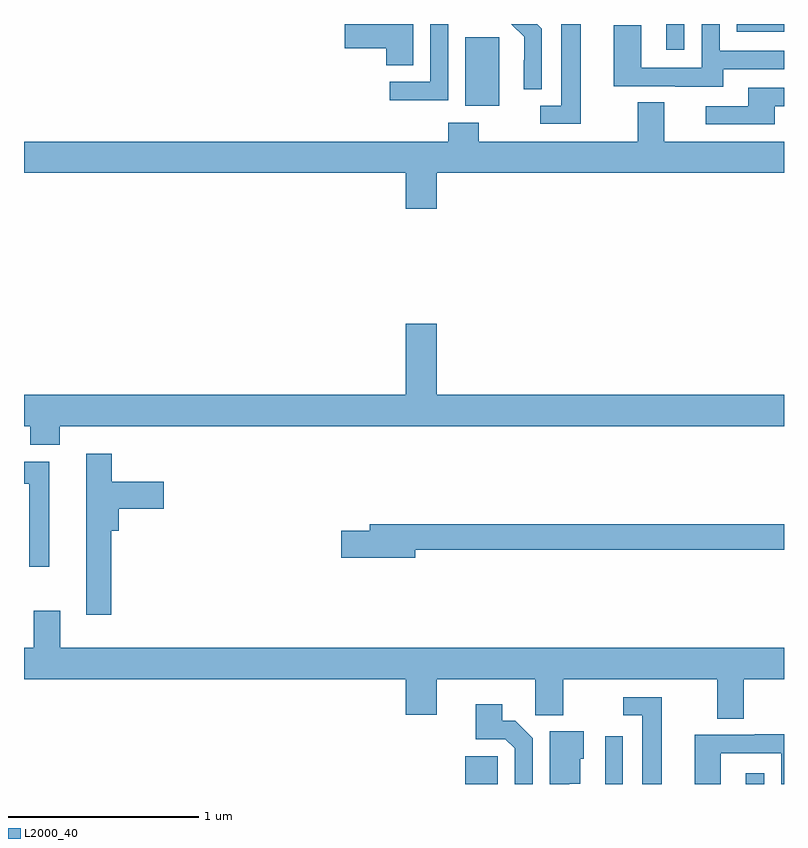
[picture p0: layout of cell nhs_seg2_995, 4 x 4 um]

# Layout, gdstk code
import gdstk
lib = gdstk.Library(unit=1e-6, precision=1e-09)
def R(c, l, rs):  # rectangles x0, y0, x1, y1
    for r in rs: c.add(gdstk.rectangle(r[:2], r[2:], *l))
def P(c, l, *ps):  # polygons
    for p in ps: c.add(gdstk.Polygon(p, *l))
L2000_40 = (2000, 40)

nhs_seg2_995 = lib.new_cell('nhs_seg2_995')
R(nhs_seg2_995, L2000_40, [(165.323,597.8,165.493,597.945), (166.058,597.8,166.152,598.051), (166.799,597.8,166.896,597.856), (165.323,601.37,165.502,601.731), (166.379,601.665,166.476,601.8), (166.752,601.758,167,601.8)])
P(nhs_seg2_995, L2000_40, [(165.931,601.8),(165.827,601.8),(165.827,601.371),(165.717,601.371),(165.717,601.275),(165.931,601.275)],
  [(165.726,601.774),(165.7,601.8),(165.564,601.8),(165.632,601.733),(165.632,601.61),(165.63,601.61),(165.63,601.456),(165.726,601.456)],
  [(165.234,601.8),(165.138,601.8),(165.138,601.497),(164.925,601.497),(164.925,601.399),(165.234,601.399)],
  [(165.049,601.8),(164.688,601.8),(164.688,601.673),(164.906,601.673),(164.906,601.582),(165.049,601.582)],
  [(166.681,601.563),(167,601.563),(167,601.659),(166.662,601.659),(166.662,601.8),(166.566,601.8),(166.566,601.569),(166.248,601.569),(166.248,601.793),(166.103,601.793),(166.103,601.473),(166.427,601.473),(166.427,601.469),(166.681,601.469)],
  [(166.951,601.368),(167,601.368),(167,601.464),(166.811,601.464),(166.811,601.368),(166.587,601.368),(166.587,601.272),(166.951,601.272)],
  [(165.172,601.016),(167,601.016),(167,601.18),(166.369,601.18),(166.369,601.388),(166.229,601.388),(166.229,601.18),(165.393,601.18),(165.393,601.279),(165.233,601.279),(165.233,601.18),(163,601.18),(163,601.016),(165.008,601.016),(165.008,600.828),(165.172,600.828)],
  [(163.187,599.684),(167,599.684),(167,599.848),(165.172,599.848),(165.172,600.223),(165.008,600.223),(165.008,599.848),(163,599.848),(163,599.684),(163.034,599.684),(163.034,599.585),(163.187,599.585)],
  [(163.46,599.132),(163.499,599.132),(163.499,599.249),(163.735,599.249),(163.735,599.391),(163.463,599.391),(163.463,599.539),(163.328,599.539),(163.328,598.692),(163.46,598.692)],
  [(163.132,599.496),(163,599.496),(163,599.38),(163.028,599.38),(163.028,598.944),(163.132,598.944)],
  [(165.058,599.032),(167,599.032),(167,599.168),(164.819,599.168),(164.819,599.132),(164.67,599.132),(164.67,598.99),(165.058,598.99)],
  [(166.789,598.352),(167,598.352),(167,598.516),(163.192,598.516),(163.192,598.711),(163.052,598.711),(163.052,598.516),(163,598.516),(163,598.352),(165.008,598.352),(165.008,598.164),(165.172,598.164),(165.172,598.352),(165.69,598.352),(165.69,598.163),(165.837,598.163),(165.837,598.352),(166.649,598.352),(166.649,598.144),(166.789,598.144)],
  [(166.357,598.257),(166.155,598.257),(166.155,598.161),(166.253,598.161),(166.253,597.8),(166.357,597.8)],
  [(165.678,598.041),(165.585,598.134),(165.517,598.134),(165.517,598.219),(165.377,598.219),(165.377,598.035),(165.534,598.035),(165.582,597.987),(165.582,597.8),(165.678,597.8)],
  [(165.871,597.801),(165.927,597.801),(165.927,597.933),(165.946,597.933),(165.946,598.078),(165.767,598.078),(165.767,597.8),(165.871,597.8)],
  [(166.668,597.963),(166.986,597.963),(166.986,597.8),(167,597.8),(167,598.063),(166.847,598.063),(166.847,598.059),(166.529,598.059),(166.529,597.8),(166.668,597.8)])

lib.write_gds('nhs_seg2_995.gds')
